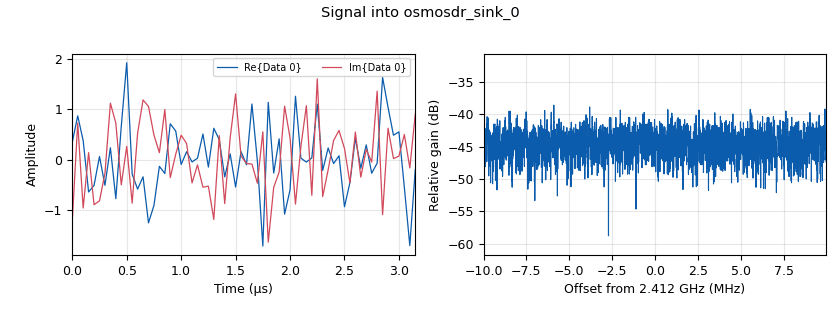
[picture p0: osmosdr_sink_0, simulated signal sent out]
options:
  parameters:
    generate_options: qt_gui
    id: jamming_wifi
    output_language: python
    title: Not titled yet
  states: {}

blocks:
- name: freq
  id: variable_qtgui_range
  parameters:
    label: Target Frequency
    start: 2400e6
    step: 1e6
    stop: 2500e6
    value: 2412e6
  states: {}
- name: samp_rate
  id: variable
  parameters:
    value: 20e6
  states: {}
- name: analog_noise_source_x_0
  id: analog_noise_source_x
  parameters:
    amp: '1'
    noise_type: analog.GR_GAUSSIAN
    seed: '0'
    type: complex
  states: {}
- name: osmosdr_sink_0
  id: osmosdr_sink
  parameters:
    args: hackrf=0
    bb_gain0: '20'
    bw0: 20e6
    freq0: freq
    gain0: '14'
    if_gain0: '47'
    sample_rate: samp_rate
    sync: sync
    type: fc32
  states: {}

connections:
- [analog_noise_source_x_0, '0', osmosdr_sink_0, '0']

metadata:
  file_format: 1
